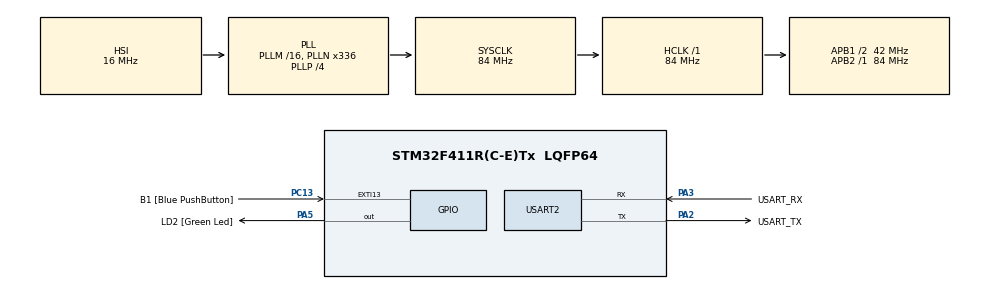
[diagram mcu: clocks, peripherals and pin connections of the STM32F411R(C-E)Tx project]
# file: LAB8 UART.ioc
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Mcu.Family=STM32F4
PC15-OSC32_OUT.Mode=LSE-External-Oscillator
RCC.CortexFreq_Value=84000000
PC13-ANTI_TAMP.GPIO_Label=B1 [Blue PushButton]
PA14.GPIO_Label=TCK
PH1\ -\ OSC_OUT.Mode=HSE-External-Clock-Source
RCC.APB1CLKDivider=RCC_HCLK_DIV2
PC14-OSC32_IN.Signal=RCC_OSC32_IN
NVIC.USART2_IRQn=true\:0\:0\:false\:false\:true\:true\:true
RCC.SYSCLKSource=RCC_SYSCLKSOURCE_PLLCLK
ProjectManager.StackSize=0x400
PA13.Signal=SYS_JTMS-SWDIO
PA3.Mode=Asynchronous
PH0\ -\ OSC_IN.Mode=HSE-External-Clock-Source
PH0\ -\ OSC_IN.Signal=RCC_OSC_IN
ProjectManager.TargetToolchain=STM32CubeIDE
RCC.HCLKFreq_Value=84000000
RCC.APB2TimFreq_Value=84000000
PC15-OSC32_OUT.Signal=RCC_OSC32_OUT
RCC.AHBFreq_Value=84000000
PA5.Signal=GPIO_Output
RCC.HSE_VALUE=8000000
PH1\ -\ OSC_OUT.Signal=RCC_OSC_OUT
board=NUCLEO-F411RE
PC13-ANTI_TAMP.Signal=GPXTI13
RCC.VCOOutputFreq_Value=336000000
RCC.APB2Freq_Value=84000000
PC14-OSC32_IN.Mode=LSE-External-Oscillator
PA14.Mode=Serial_Wire
PA13.Mode=Serial_Wire
Mcu.Name=STM32F411R(C-E)Tx
PA2.Signal=USART2_TX
PA13.GPIO_Label=TMS
RCC.FLatency-AdvancedSettings=FLASH_LATENCY_2
RCC.48MHZClocksFreq_Value=84000000
PB3.Signal=SYS_JTDO-SWO
RCC.SYSCLKFreq_VALUE=84000000
Mcu.Package=LQFP64
PA5.GPIO_Label=LD2 [Green Led]
USART2.VirtualMode=VM_ASYNC
PC13-ANTI_TAMP.GPIO_ModeDefaultEXTI=GPIO_MODE_IT_FALLING
PA2.GPIO_Label=USART_TX
PA14.Signal=SYS_JTCK-SWCLK
ProjectManager.HeapSize=0x200
RCC.HSI_VALUE=16000000
RCC.PLLP=RCC_PLLP_DIV4
NVIC.PriorityGroup=NVIC_PRIORITYGROUP_0
RCC.PLLN=336
RCC.APB1TimFreq_Value=84000000
PA2.Mode=Asynchronous
RCC.APB1Freq_Value=42000000
PA3.GPIO_Label=USART_RX
PA3.Signal=USART2_RX
PB3.GPIO_Label=SWO

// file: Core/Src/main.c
/* USER CODE BEGIN Header */
/**
 ******************************************************************************
 * @file           : main.c
 * @brief          : Main program body
 ******************************************************************************
 * @attention
 *
 * <h2><center>&copy; Copyright (c) 2021 STMicroelectronics.
 * All rights reserved.</center></h2>
 *
 * This software component is licensed by ST under BSD 3-Clause license,
 * the "License"; You may not use this file except in compliance with the
 * License. You may obtain a copy of the License at:
 *                        opensource.org/licenses/BSD-3-Clause
 *
 ******************************************************************************
 */
/* USER CODE END Header */
#include "main.h"

/* USER CODE BEGIN Includes */
#include <stdio.h> //sprintf
#include <string.h> //strlen
/* USER CODE END Includes */

UART_HandleTypeDef huart2;

/* USER CODE BEGIN PV */
char TxDataBuffer[32] = { 0 };
char RxDataBuffer[32] = { 0 };

int state = 0;

char Word1[] = {" Control LED        : Press [0]\r\n Show Button Status : Press [1]\r\n"};
char Word2[] = {" Speed Up 1Hz           : Press a\r\n Speed Down 1Hz         : Press s\r\n Show Current Frequency : Press d\r\n Back To Manu           : Press x\r\n"};
char Word3[] = {" Show Button Status : Press Blue Button\r\n Back To Manu       : Press x\r\n"};
char Word4[] = {" Button Pressed\r\n"};
char Word5[] = {" Button UnPressed\r\n"};
char WordError[] = {" Unindentified Input\r\n"};
char ShowFrequency[32] = {0};

int Frequency = 0;
float Period = 0;
int LEDStatus = 0;

uint32_t timestamp = 0;
GPIO_PinState BlueButton[2];

int check = 0;

/* USER CODE END PV */

void SystemClock_Config(void);
static void MX_GPIO_Init(void);
static void MX_USART2_UART_Init(void);
/* USER CODE BEGIN PFP */
void UARTRecieveAndResponsePolling();
int16_t UARTRecieveIT();
/* USER CODE END PFP */

int main(void)
{

  /* MCU Configuration--------------------------------------------------------*/

  /* Reset of all peripherals, Initializes the Flash interface and the Systick. */
	HAL_Init();

  /* Configure the system clock */
  SystemClock_Config();

  /* Initialize all configured peripherals */
  MX_GPIO_Init();
  MX_USART2_UART_Init();
  /* USER CODE BEGIN 2 */
  {

	  char temp[]="HELLO WORLD\r\n please type something to test UART\r\n";
	  HAL_UART_Transmit(&huart2, (uint8_t*)temp, strlen(temp),10);

  }
  /* USER CODE END 2 */

  /* Infinite loop */
  /* USER CODE BEGIN WHILE */
	while (1)
	{
		/*Method 1 Polling Mode*/ //bad implement

//		UARTRecieveAndResponsePolling();

		/*Method 2 Interrupt Mode*/
		HAL_UART_Receive_IT(&huart2,  (uint8_t*)RxDataBuffer, 32);

		/*Method 2 W/ 1 Char Received*/
		int16_t inputchar = UARTRecieveIT();
		if(inputchar!=-1)
		{
			sprintf(TxDataBuffer, "ReceivedChar:[%c]\r\n", inputchar);
			HAL_UART_Transmit(&huart2, (uint8_t*)TxDataBuffer, strlen(TxDataBuffer), 1000);
		}
		BlueButton[0] = HAL_GPIO_ReadPin(GPIOC, GPIO_PIN_13);
		switch(state)
		{
			case 0:
			{
				HAL_UART_Transmit(&huart2, (uint8_t*)Word1, strlen(Word1), 1000);
				state = 1;
				break;
			}

			case 1:
			{
				if(inputchar == '0')
				{
					HAL_UART_Transmit(&huart2, (uint8_t*)Word2, strlen(Word2), 1000);
					state = 2;
				}
				else if(inputchar == '1')
				{
					HAL_UART_Transmit(&huart2, (uint8_t*)Word3, strlen(Word3), 1000);
					state = 3;
				}
				else if(inputchar > 0)
				{
					HAL_UART_Transmit(&huart2, (uint8_t*)WordError, strlen(WordError), 1000);
				}
				break;
			}
			case 2:
			{
				if(inputchar == 'a')
				{
					Frequency += 1;
					sprintf(ShowFrequency, "Current Frequency : %d \r\n", Frequency);
					HAL_UART_Transmit(&huart2, (uint8_t*)ShowFrequency, strlen(ShowFrequency), 1000);
				}
				else if(inputchar == 's')
				{
					Frequency -= 1;
					if(Frequency < 0)
					{
						Frequency = 0;
					}
					sprintf(ShowFrequency, "Current Frequency : %d \r\n", Frequency);
					HAL_UART_Transmit(&huart2, (uint8_t*)ShowFrequency, strlen(ShowFrequency), 1000);
				}
				else if(inputchar == 'd')
				{
					LEDStatus += 1;
					if(LEDStatus % 2 == 0)
					{
						HAL_GPIO_WritePin(LD2_GPIO_Port, LD2_Pin, GPIO_PIN_RESET);
					}
				}
				else if(inputchar == 'x')
				{
					state = 0;
				}
				else if(inputchar > 0)
				{
					HAL_UART_Transmit(&huart2, (uint8_t*)WordError, strlen(WordError), 1000);
				}
				break;
			}
			case 3:
			{
				if(inputchar == 'x')
				{
					state = 0;
				}
				else if(BlueButton[0] == 0 && BlueButton[1] == 1)
				{
					HAL_UART_Transmit(&huart2, (uint8_t*)Word4, strlen(Word4), 1000);
				}
				else if(BlueButton[0] == 1 && BlueButton[1] == 0)
				{
					HAL_UART_Transmit(&huart2, (uint8_t*)Word5, strlen(Word5), 1000);
				}
				else if(inputchar > 0)
				{
					HAL_UART_Transmit(&huart2, (uint8_t*)WordError, strlen(WordError), 1000);
				}
				BlueButton[1] = BlueButton[0];
				break;
			}

		}
		Period = 500/Frequency; // 1000/(2*frequency)
		if(LEDStatus % 2 == 1)
		{
			if(Frequency <= 0)
			{
				Frequency = 0;
				HAL_GPIO_WritePin(LD2_GPIO_Port, LD2_Pin, GPIO_PIN_RESET);
			}
			else
			{
				if(HAL_GetTick() - timestamp >= Period)
				{
					HAL_GPIO_TogglePin(LD2_GPIO_Port, LD2_Pin);
					timestamp = HAL_GetTick();
					check += 1;
				}

			}
		}

		/*This section just simulate Work Load*/
//		HAL_Delay(100);
//		HAL_GPIO_TogglePin(LD2_GPIO_Port, LD2_Pin);
    /* USER CODE END WHILE */

	}
}

void SystemClock_Config(void)
{
  RCC_OscInitTypeDef RCC_OscInitStruct = {0};
  RCC_ClkInitTypeDef RCC_ClkInitStruct = {0};

  /** Configure the main internal regulator output voltage
  */
  __HAL_RCC_PWR_CLK_ENABLE();
  __HAL_PWR_VOLTAGESCALING_CONFIG(PWR_REGULATOR_VOLTAGE_SCALE1);
  /** Initializes the RCC Oscillators according to the specified parameters
  * in the RCC_OscInitTypeDef structure.
  */
  RCC_OscInitStruct.OscillatorType = RCC_OSCILLATORTYPE_HSI;
  RCC_OscInitStruct.HSIState = RCC_HSI_ON;
  RCC_OscInitStruct.HSICalibrationValue = RCC_HSICALIBRATION_DEFAULT;
  RCC_OscInitStruct.PLL.PLLState = RCC_PLL_ON;
  RCC_OscInitStruct.PLL.PLLSource = RCC_PLLSOURCE_HSI;
  RCC_OscInitStruct.PLL.PLLM = 16;
  RCC_OscInitStruct.PLL.PLLN = 336;
  RCC_OscInitStruct.PLL.PLLP = RCC_PLLP_DIV4;
  RCC_OscInitStruct.PLL.PLLQ = 4;
  if (HAL_RCC_OscConfig(&RCC_OscInitStruct) != HAL_OK)
  {
    Error_Handler();
  }
  /** Initializes the CPU, AHB and APB buses clocks
  */
  RCC_ClkInitStruct.ClockType = RCC_CLOCKTYPE_HCLK|RCC_CLOCKTYPE_SYSCLK
                              |RCC_CLOCKTYPE_PCLK1|RCC_CLOCKTYPE_PCLK2;
  RCC_ClkInitStruct.SYSCLKSource = RCC_SYSCLKSOURCE_PLLCLK;
  RCC_ClkInitStruct.AHBCLKDivider = RCC_SYSCLK_DIV1;
  RCC_ClkInitStruct.APB1CLKDivider = RCC_HCLK_DIV2;
  RCC_ClkInitStruct.APB2CLKDivider = RCC_HCLK_DIV1;

  if (HAL_RCC_ClockConfig(&RCC_ClkInitStruct, FLASH_LATENCY_2) != HAL_OK)
  {
    Error_Handler();
  }
}

static void MX_USART2_UART_Init(void)
{

  huart2.Instance = USART2;
  huart2.Init.BaudRate = 115200;
  huart2.Init.WordLength = UART_WORDLENGTH_8B;
  huart2.Init.StopBits = UART_STOPBITS_1;
  huart2.Init.Parity = UART_PARITY_NONE;
  huart2.Init.Mode = UART_MODE_TX_RX;
  huart2.Init.HwFlowCtl = UART_HWCONTROL_NONE;
  huart2.Init.OverSampling = UART_OVERSAMPLING_16;
  if (HAL_UART_Init(&huart2) != HAL_OK)
  {
    Error_Handler();
  }

}

static void MX_GPIO_Init(void)
{
  GPIO_InitTypeDef GPIO_InitStruct = {0};

  /* GPIO Ports Clock Enable */
  __HAL_RCC_GPIOC_CLK_ENABLE();
  __HAL_RCC_GPIOH_CLK_ENABLE();
  __HAL_RCC_GPIOA_CLK_ENABLE();
  __HAL_RCC_GPIOB_CLK_ENABLE();

  /*Configure GPIO pin Output Level */
  HAL_GPIO_WritePin(LD2_GPIO_Port, LD2_Pin, GPIO_PIN_RESET);

  /*Configure GPIO pin : B1_Pin */
  GPIO_InitStruct.Pin = B1_Pin;
  GPIO_InitStruct.Mode = GPIO_MODE_IT_FALLING;
  GPIO_InitStruct.Pull = GPIO_NOPULL;
  HAL_GPIO_Init(B1_GPIO_Port, &GPIO_InitStruct);

  /*Configure GPIO pin : LD2_Pin */
  GPIO_InitStruct.Pin = LD2_Pin;
  GPIO_InitStruct.Mode = GPIO_MODE_OUTPUT_PP;
  GPIO_InitStruct.Pull = GPIO_NOPULL;
  GPIO_InitStruct.Speed = GPIO_SPEED_FREQ_LOW;
  HAL_GPIO_Init(LD2_GPIO_Port, &GPIO_InitStruct);

}

/* USER CODE BEGIN 4 */
void UARTRecieveAndResponsePolling()
{
	//create buffer
	char Recieve[32]={0};

	//start receive in Polling mode
	HAL_UART_Receive(&huart2, (uint8_t*)Recieve, 32, 1000);

	//create feedback text
	sprintf(TxDataBuffer, "Received:[%s]\r\n", Recieve);

	//send text
	HAL_UART_Transmit(&huart2, (uint8_t*)TxDataBuffer, strlen(TxDataBuffer), 1000);

}

int16_t UARTRecieveIT()
{
	static uint32_t dataPos =0;
	int16_t data=-1;
	if(huart2.RxXferSize - huart2.RxXferCount!=dataPos)
	{
		data=RxDataBuffer[dataPos];
		dataPos= (dataPos+1)%huart2.RxXferSize;
	}
	return data;
}

void HAL_UART_RxCpltCallback(UART_HandleTypeDef *huart)
{
	sprintf(TxDataBuffer, "Received:[%s]\r\n", RxDataBuffer);
	HAL_UART_Transmit(&huart2, (uint8_t*)TxDataBuffer, strlen(TxDataBuffer), 1000);
}
/* USER CODE END 4 */

void Error_Handler(void)
{
	__disable_irq();
	while (1)
	{
	}
}

/************************ (C) COPYRIGHT STMicroelectronics *****END OF FILE****/
